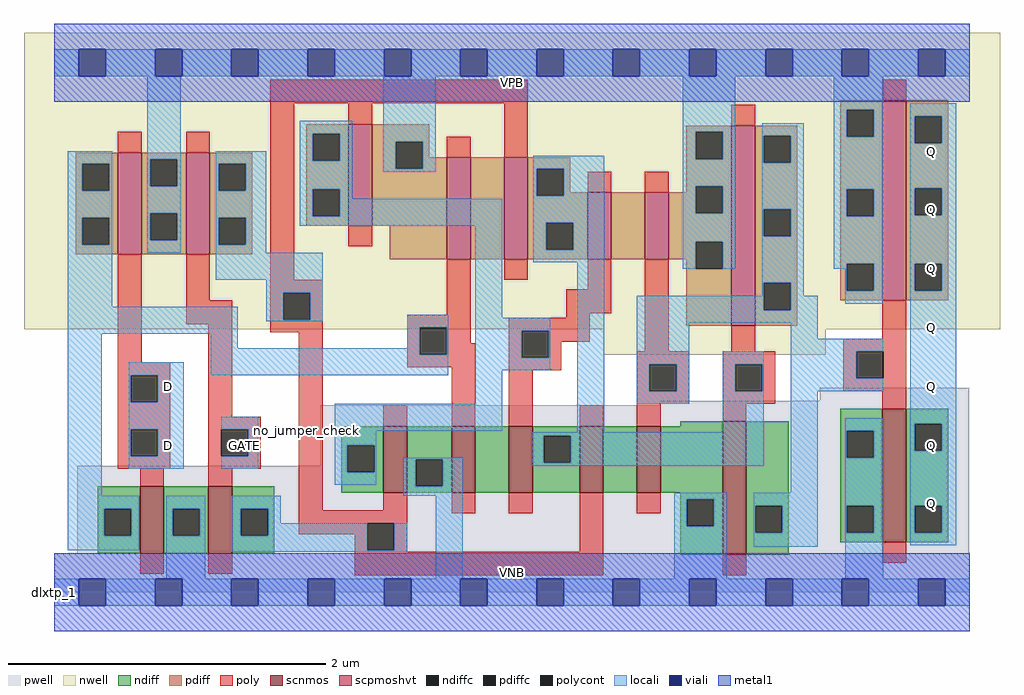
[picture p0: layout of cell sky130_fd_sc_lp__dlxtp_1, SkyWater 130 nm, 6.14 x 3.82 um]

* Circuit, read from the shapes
.subckt sky130_fd_sc_lp__dlxtp_1 D GATE VGND VNB VPB VPWR Q
XM1 VGND D n1 VNB sky130_fd_pr__nfet_01v8 w=0.42 l=0.15
XM2 n2 GATE VGND VNB sky130_fd_pr__nfet_01v8 w=0.42 l=0.15
XM3 VGND n2 n3 VNB sky130_fd_pr__nfet_01v8 w=0.42 l=0.15
XM4 n4 n1 VGND VNB sky130_fd_pr__nfet_01v8 w=0.42 l=0.15
XM5 n5 n3 n4 VNB sky130_fd_pr__nfet_01v8 w=0.42 l=0.15
XM6 n6 n2 n5 VNB sky130_fd_pr__nfet_01v8 w=0.42 l=0.15
XM7 VGND n7 n6 VNB sky130_fd_pr__nfet_01v8 w=0.42 l=0.15
XM8 n7 n5 VGND VNB sky130_fd_pr__nfet_01v8 w=0.84 l=0.15
XM9 Q n7 VGND VNB sky130_fd_pr__nfet_01v8 w=0.84 l=0.15
XM10 VPWR D n1 VPB sky130_fd_pr__pfet_01v8_hvt w=0.64 l=0.15
XM11 n2 GATE VPWR VPB sky130_fd_pr__pfet_01v8_hvt w=0.64 l=0.15
XM12 VPWR n2 n3 VPB sky130_fd_pr__pfet_01v8_hvt w=0.64 l=0.15
XM13 n8 n1 VPWR VPB sky130_fd_pr__pfet_01v8_hvt w=0.64 l=0.15
XM14 n5 n2 n8 VPB sky130_fd_pr__pfet_01v8_hvt w=0.64 l=0.15
XM15 n9 n3 n5 VPB sky130_fd_pr__pfet_01v8_hvt w=0.42 l=0.15
XM16 VPWR n7 n9 VPB sky130_fd_pr__pfet_01v8_hvt w=0.42 l=0.15
XM17 n7 n5 VPWR VPB sky130_fd_pr__pfet_01v8_hvt w=1.26 l=0.15
XM18 Q n7 VPWR VPB sky130_fd_pr__pfet_01v8_hvt w=1.26 l=0.15
.ends

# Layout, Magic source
magic
tech sky130A
magscale 1 2
<< nwell >>
rect -38 331 1190 704
rect 691 299 971 331
<< pwell >>
rect 963 241 1151 257
rect 762 235 1151 241
rect 335 159 1151 235
rect 29 49 1151 159
rect 0 0 1152 49
<< scnmos >>
rect 108 49 138 133
rect 194 49 224 133
rect 414 125 444 209
rect 500 125 530 209
rect 572 125 602 209
rect 661 125 691 209
rect 733 125 763 209
rect 841 47 871 215
rect 1042 63 1072 231
<< scpmoshvt >>
rect 80 425 110 553
rect 166 425 196 553
rect 370 461 400 589
rect 494 419 524 547
rect 566 419 596 547
rect 671 419 701 503
rect 743 419 773 503
rect 852 335 882 587
rect 1042 367 1072 619
<< ndiff >>
rect 55 105 108 133
rect 55 71 63 105
rect 97 71 108 105
rect 55 49 108 71
rect 138 105 194 133
rect 138 71 149 105
rect 183 71 194 105
rect 138 49 194 71
rect 224 105 277 133
rect 224 71 235 105
rect 269 71 277 105
rect 788 209 841 215
rect 361 185 414 209
rect 361 151 369 185
rect 403 151 414 185
rect 361 125 414 151
rect 444 167 500 209
rect 444 133 455 167
rect 489 133 500 167
rect 444 125 500 133
rect 530 125 572 209
rect 602 197 661 209
rect 602 163 616 197
rect 650 163 661 197
rect 602 125 661 163
rect 691 125 733 209
rect 763 125 841 209
rect 224 49 277 71
rect 788 117 841 125
rect 788 83 796 117
rect 830 83 841 117
rect 788 47 841 83
rect 871 109 924 215
rect 871 75 882 109
rect 916 75 924 109
rect 871 47 924 75
rect 989 203 1042 231
rect 989 169 997 203
rect 1031 169 1042 203
rect 989 109 1042 169
rect 989 75 997 109
rect 1031 75 1042 109
rect 989 63 1042 75
rect 1072 212 1125 231
rect 1072 178 1083 212
rect 1117 178 1125 212
rect 1072 109 1125 178
rect 1072 75 1083 109
rect 1117 75 1125 109
rect 1072 63 1125 75
<< pdiff >>
rect 27 539 80 553
rect 27 505 35 539
rect 69 505 80 539
rect 27 471 80 505
rect 27 437 35 471
rect 69 437 80 471
rect 27 425 80 437
rect 110 545 166 553
rect 110 511 121 545
rect 155 511 166 545
rect 110 477 166 511
rect 110 443 121 477
rect 155 443 166 477
rect 110 425 166 443
rect 196 539 249 553
rect 196 505 207 539
rect 241 505 249 539
rect 196 471 249 505
rect 196 437 207 471
rect 241 437 249 471
rect 196 425 249 437
rect 317 577 370 589
rect 317 543 325 577
rect 359 543 370 577
rect 317 507 370 543
rect 317 473 325 507
rect 359 473 370 507
rect 317 461 370 473
rect 400 567 472 589
rect 400 533 430 567
rect 464 547 472 567
rect 989 607 1042 619
rect 795 579 852 587
rect 464 533 494 547
rect 400 461 494 533
rect 422 419 494 461
rect 524 419 566 547
rect 596 533 649 547
rect 596 499 607 533
rect 641 503 649 533
rect 795 545 807 579
rect 841 545 852 579
rect 795 511 852 545
rect 795 503 807 511
rect 641 499 671 503
rect 596 465 671 499
rect 596 431 619 465
rect 653 431 671 465
rect 596 419 671 431
rect 701 419 743 503
rect 773 477 807 503
rect 841 477 852 511
rect 773 441 852 477
rect 773 419 807 441
rect 795 407 807 419
rect 841 407 852 441
rect 795 335 852 407
rect 882 574 935 587
rect 882 540 893 574
rect 927 540 935 574
rect 882 482 935 540
rect 882 448 893 482
rect 927 448 935 482
rect 882 389 935 448
rect 882 355 893 389
rect 927 355 935 389
rect 989 573 997 607
rect 1031 573 1042 607
rect 989 507 1042 573
rect 989 473 997 507
rect 1031 473 1042 507
rect 989 413 1042 473
rect 989 379 997 413
rect 1031 379 1042 413
rect 989 367 1042 379
rect 1072 599 1125 619
rect 1072 565 1083 599
rect 1117 565 1125 599
rect 1072 508 1125 565
rect 1072 474 1083 508
rect 1117 474 1125 508
rect 1072 413 1125 474
rect 1072 379 1083 413
rect 1117 379 1125 413
rect 1072 367 1125 379
rect 882 335 935 355
<< ndiffc >>
rect 63 71 97 105
rect 149 71 183 105
rect 235 71 269 105
rect 369 151 403 185
rect 455 133 489 167
rect 616 163 650 197
rect 796 83 830 117
rect 882 75 916 109
rect 997 169 1031 203
rect 997 75 1031 109
rect 1083 178 1117 212
rect 1083 75 1117 109
<< pdiffc >>
rect 35 505 69 539
rect 35 437 69 471
rect 121 511 155 545
rect 121 443 155 477
rect 207 505 241 539
rect 207 437 241 471
rect 325 543 359 577
rect 325 473 359 507
rect 430 533 464 567
rect 607 499 641 533
rect 807 545 841 579
rect 619 431 653 465
rect 807 477 841 511
rect 807 407 841 441
rect 893 540 927 574
rect 893 448 927 482
rect 893 355 927 389
rect 997 573 1031 607
rect 997 473 1031 507
rect 997 379 1031 413
rect 1083 565 1117 599
rect 1083 474 1117 508
rect 1083 379 1117 413
<< poly >>
rect 272 615 596 645
rect 1042 619 1072 645
rect 80 553 110 579
rect 166 553 196 579
rect 80 289 110 425
rect 166 367 196 425
rect 272 393 302 615
rect 370 589 400 615
rect 494 547 524 573
rect 566 547 596 615
rect 852 587 882 613
rect 370 435 400 461
rect 671 503 701 529
rect 743 503 773 529
rect 272 377 338 393
rect 166 337 224 367
rect 80 273 146 289
rect 80 239 96 273
rect 130 239 146 273
rect 80 205 146 239
rect 80 171 96 205
rect 130 171 146 205
rect 80 155 146 171
rect 194 221 224 337
rect 272 343 288 377
rect 322 343 338 377
rect 494 349 524 419
rect 566 393 596 419
rect 671 381 701 419
rect 272 327 338 343
rect 194 205 260 221
rect 194 171 210 205
rect 244 171 260 205
rect 194 155 260 171
rect 108 133 138 155
rect 194 133 224 155
rect 308 103 338 327
rect 444 333 524 349
rect 644 351 701 381
rect 644 345 674 351
rect 444 299 460 333
rect 494 313 524 333
rect 572 329 674 345
rect 494 299 530 313
rect 444 283 530 299
rect 414 209 444 235
rect 500 209 530 283
rect 572 295 588 329
rect 622 315 674 329
rect 622 295 638 315
rect 743 303 773 419
rect 852 303 882 335
rect 1042 319 1072 367
rect 993 303 1072 319
rect 572 279 638 295
rect 733 287 799 303
rect 572 209 602 279
rect 733 253 749 287
rect 783 253 799 287
rect 733 237 799 253
rect 841 287 907 303
rect 841 253 857 287
rect 891 253 907 287
rect 993 269 1009 303
rect 1043 269 1072 303
rect 993 253 1072 269
rect 841 237 907 253
rect 661 209 691 235
rect 733 209 763 237
rect 841 215 871 237
rect 1042 231 1072 253
rect 414 103 444 125
rect 308 87 444 103
rect 500 99 530 125
rect 572 99 602 125
rect 308 73 394 87
rect 378 53 394 73
rect 428 53 444 87
rect 378 51 444 53
rect 661 51 691 125
rect 733 99 763 125
rect 108 23 138 49
rect 194 23 224 49
rect 378 21 691 51
rect 841 21 871 47
rect 1042 37 1072 63
<< polycont >>
rect 96 239 130 273
rect 96 171 130 205
rect 288 343 322 377
rect 210 171 244 205
rect 460 299 494 333
rect 588 295 622 329
rect 749 253 783 287
rect 857 253 891 287
rect 1009 269 1043 303
rect 394 53 428 87
<< locali >>
rect 0 649 31 683
rect 65 649 127 683
rect 161 649 223 683
rect 257 649 319 683
rect 353 649 415 683
rect 449 649 511 683
rect 545 649 607 683
rect 641 649 703 683
rect 737 649 799 683
rect 833 649 895 683
rect 929 649 991 683
rect 1025 649 1087 683
rect 1121 649 1152 683
rect 17 539 73 555
rect 17 505 35 539
rect 69 505 73 539
rect 17 471 73 505
rect 17 437 35 471
rect 69 437 73 471
rect 17 359 73 437
rect 117 545 159 649
rect 309 577 375 593
rect 117 511 121 545
rect 155 511 159 545
rect 117 477 159 511
rect 117 443 121 477
rect 155 443 159 477
rect 117 427 159 443
rect 203 539 267 555
rect 203 505 207 539
rect 241 505 267 539
rect 203 471 267 505
rect 203 437 207 471
rect 241 437 267 471
rect 309 543 325 577
rect 359 543 375 577
rect 309 507 375 543
rect 414 567 480 649
rect 414 533 430 567
rect 464 533 480 567
rect 791 579 857 649
rect 981 607 1043 649
rect 414 529 480 533
rect 603 533 692 549
rect 309 473 325 507
rect 359 495 375 507
rect 603 499 607 533
rect 641 499 692 533
rect 359 473 564 495
rect 309 461 564 473
rect 203 427 267 437
rect 203 393 338 427
rect 267 377 338 393
rect 17 325 231 359
rect 267 343 288 377
rect 322 343 338 377
rect 267 341 338 343
rect 17 121 60 325
rect 197 307 231 325
rect 444 333 496 349
rect 444 307 460 333
rect 197 299 460 307
rect 494 299 496 333
rect 94 273 163 289
rect 197 273 496 299
rect 530 345 564 461
rect 603 465 692 499
rect 603 431 619 465
rect 653 431 692 465
rect 603 415 692 431
rect 530 329 624 345
rect 530 295 588 329
rect 622 295 624 329
rect 530 279 624 295
rect 94 239 96 273
rect 130 239 163 273
rect 94 205 163 239
rect 530 237 564 279
rect 94 171 96 205
rect 130 171 163 205
rect 94 155 163 171
rect 210 205 257 221
rect 244 171 257 205
rect 210 155 257 171
rect 353 203 564 237
rect 353 185 405 203
rect 658 201 692 415
rect 791 545 807 579
rect 841 545 857 579
rect 791 511 857 545
rect 791 477 807 511
rect 841 477 857 511
rect 791 441 857 477
rect 791 407 807 441
rect 841 407 857 441
rect 891 574 943 590
rect 891 540 893 574
rect 927 540 943 574
rect 891 482 943 540
rect 891 448 893 482
rect 927 448 943 482
rect 891 389 943 448
rect 981 573 997 607
rect 1031 573 1043 607
rect 981 507 1043 573
rect 981 473 997 507
rect 1031 473 1043 507
rect 981 413 1043 473
rect 981 407 997 413
rect 891 373 893 389
rect 733 355 893 373
rect 927 373 943 389
rect 995 379 997 407
rect 1031 379 1043 413
rect 927 355 961 373
rect 995 363 1043 379
rect 1077 599 1135 615
rect 1077 565 1083 599
rect 1117 565 1135 599
rect 1077 508 1135 565
rect 1077 474 1083 508
rect 1117 474 1135 508
rect 1077 413 1135 474
rect 1077 379 1083 413
rect 1117 379 1135 413
rect 733 339 961 355
rect 733 287 799 339
rect 927 319 961 339
rect 927 303 1043 319
rect 733 253 749 287
rect 783 253 799 287
rect 733 237 799 253
rect 841 287 893 303
rect 841 253 857 287
rect 891 253 893 287
rect 841 201 893 253
rect 353 151 369 185
rect 403 151 405 185
rect 600 197 893 201
rect 353 135 405 151
rect 439 167 514 169
rect 439 133 455 167
rect 489 133 514 167
rect 600 163 616 197
rect 650 163 893 197
rect 600 159 893 163
rect 927 269 1009 303
rect 927 253 1043 269
rect 439 121 514 133
rect 927 125 961 253
rect 17 105 107 121
rect 17 71 63 105
rect 97 71 107 105
rect 17 53 107 71
rect 141 105 190 121
rect 141 71 149 105
rect 183 71 190 105
rect 141 17 190 71
rect 224 105 285 121
rect 224 71 235 105
rect 269 87 285 105
rect 269 71 394 87
rect 224 53 394 71
rect 428 53 444 87
rect 224 51 444 53
rect 480 17 514 121
rect 780 117 846 125
rect 780 83 796 117
rect 830 83 846 117
rect 780 17 846 83
rect 880 109 961 125
rect 880 75 882 109
rect 916 75 961 109
rect 880 57 961 75
rect 995 203 1043 219
rect 995 169 997 203
rect 1031 169 1043 203
rect 995 109 1043 169
rect 995 75 997 109
rect 1031 75 1043 109
rect 995 17 1043 75
rect 1077 212 1135 379
rect 1077 178 1083 212
rect 1117 178 1135 212
rect 1077 109 1135 178
rect 1077 75 1083 109
rect 1117 75 1135 109
rect 1077 59 1135 75
rect 0 -17 31 17
rect 65 -17 127 17
rect 161 -17 223 17
rect 257 -17 319 17
rect 353 -17 415 17
rect 449 -17 511 17
rect 545 -17 607 17
rect 641 -17 703 17
rect 737 -17 799 17
rect 833 -17 895 17
rect 929 -17 991 17
rect 1025 -17 1087 17
rect 1121 -17 1152 17
<< viali >>
rect 31 649 65 683
rect 127 649 161 683
rect 223 649 257 683
rect 319 649 353 683
rect 415 649 449 683
rect 511 649 545 683
rect 607 649 641 683
rect 703 649 737 683
rect 799 649 833 683
rect 895 649 929 683
rect 991 649 1025 683
rect 1087 649 1121 683
rect 31 -17 65 17
rect 127 -17 161 17
rect 223 -17 257 17
rect 319 -17 353 17
rect 415 -17 449 17
rect 511 -17 545 17
rect 607 -17 641 17
rect 703 -17 737 17
rect 799 -17 833 17
rect 895 -17 929 17
rect 991 -17 1025 17
rect 1087 -17 1121 17
<< metal1 >>
rect 0 683 1152 715
rect 0 649 31 683
rect 65 649 127 683
rect 161 649 223 683
rect 257 649 319 683
rect 353 649 415 683
rect 449 649 511 683
rect 545 649 607 683
rect 641 649 703 683
rect 737 649 799 683
rect 833 649 895 683
rect 929 649 991 683
rect 1025 649 1087 683
rect 1121 649 1152 683
rect 0 617 1152 649
rect 0 17 1152 49
rect 0 -17 31 17
rect 65 -17 127 17
rect 161 -17 223 17
rect 257 -17 319 17
rect 353 -17 415 17
rect 449 -17 511 17
rect 545 -17 607 17
rect 641 -17 703 17
rect 737 -17 799 17
rect 833 -17 895 17
rect 929 -17 991 17
rect 1025 -17 1087 17
rect 1121 -17 1152 17
rect 0 -49 1152 -17
<< labels >>
flabel pwell s 0 0 1152 49 0 FreeSans 200 0 0 0 VNB
port 4 nsew ground bidirectional
flabel nwell s 0 617 1152 666 0 FreeSans 200 0 0 0 VPB
port 5 nsew power bidirectional
rlabel comment s 0 0 0 0 4 dlxtp_1
flabel comment s 318 204 318 204 0 FreeSans 200 90 0 0 no_jumper_check
flabel metal1 s 0 617 1152 666 0 FreeSans 340 0 0 0 VPWR
port 6 nsew power bidirectional
flabel metal1 s 0 0 1152 49 0 FreeSans 340 0 0 0 VGND
port 3 nsew ground bidirectional
flabel locali s 223 168 257 202 0 FreeSans 340 0 0 0 GATE
port 2 nsew clock input
flabel locali s 127 168 161 202 0 FreeSans 340 0 0 0 D
port 1 nsew signal input
flabel locali s 127 242 161 276 0 FreeSans 340 0 0 0 D
port 1 nsew signal input
flabel locali s 1087 94 1121 128 0 FreeSans 340 0 0 0 Q
port 7 nsew signal output
flabel locali s 1087 168 1121 202 0 FreeSans 340 0 0 0 Q
port 7 nsew signal output
flabel locali s 1087 242 1121 276 0 FreeSans 340 0 0 0 Q
port 7 nsew signal output
flabel locali s 1087 316 1121 350 0 FreeSans 340 0 0 0 Q
port 7 nsew signal output
flabel locali s 1087 390 1121 424 0 FreeSans 340 0 0 0 Q
port 7 nsew signal output
flabel locali s 1087 464 1121 498 0 FreeSans 340 0 0 0 Q
port 7 nsew signal output
flabel locali s 1087 538 1121 572 0 FreeSans 340 0 0 0 Q
port 7 nsew signal output
<< properties >>
string LEFsite unit
string LEFclass CORE
string FIXED_BBOX 0 0 1152 666
string GDS_FILE $PDKPATH/libs.ref/sky130_fd_sc_lp/gds/sky130_fd_sc_lp.gds
string LEFsymmetry X Y R90
string GDS_END 1361906
string GDS_START 1351502
<< end >>
